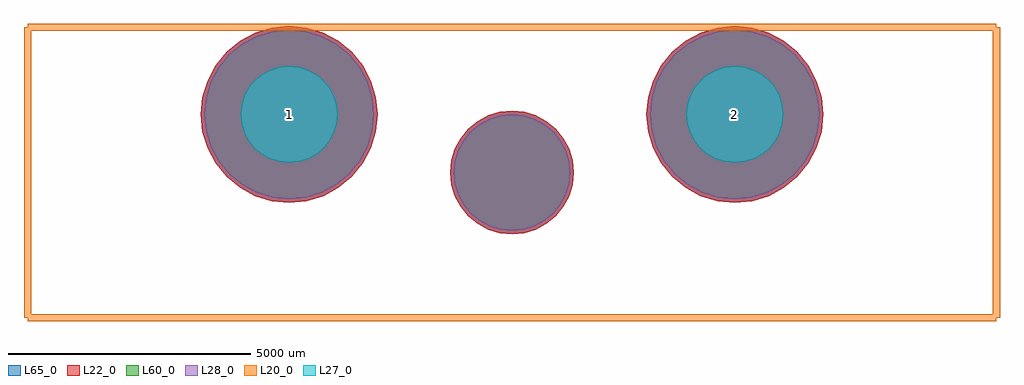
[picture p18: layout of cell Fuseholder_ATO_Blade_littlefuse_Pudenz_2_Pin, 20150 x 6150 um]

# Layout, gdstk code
import gdstk
lib = gdstk.Library(unit=1e-6, precision=1e-09)
def P(c, l, *ps):  # polygons
    for p in ps: c.add(gdstk.Polygon(p, *l))
L20_0 = (20, 0)
L22_0 = (22, 0)
L27_0 = (27, 0)
L28_0 = (28, 0)
L60_0 = (60, 0)
L65_0 = (65, 0)

fuseholder_ato_blade_lit = lib.new_cell('Fuseholder_ATO_Blade_littlefuse_Pudenz_2_Pin')
P(fuseholder_ato_blade_lit, L22_0, [(11025,0),(10989.933,356.04),(10886.08,698.397),(10717.432,1013.916),(10490.47,1290.47),(10213.916,1517.432),(9898.397,1686.08),(9556.04,1789.933),(9200,1825),(8843.96,1789.933),(8501.603,1686.08),(8186.084,1517.432),(7909.53,1290.47),(7682.568,1013.916),(7513.92,698.397),(7410.067,356.04),(7375,0),(7410.067,-356.04),(7513.92,-698.397),(7682.568,-1013.916),(7909.53,-1290.47),(8186.084,-1517.432),(8501.603,-1686.08),(8843.96,-1789.933),(9200,-1825),(9556.04,-1789.933),(9898.397,-1686.08),(10213.916,-1517.432),(10490.47,-1290.47),(10717.432,-1013.916),(10886.08,-698.397),(10989.933,-356.04)],
  [(5875,-1200),(5850.501,-951.26),(5777.946,-712.079),(5660.124,-491.648),(5501.561,-298.439),(5308.352,-139.876),(5087.921,-22.054),(4848.74,50.501),(4600,75),(4351.26,50.501),(4112.079,-22.054),(3891.648,-139.876),(3698.439,-298.439),(3539.876,-491.648),(3422.054,-712.079),(3349.499,-951.26),(3325,-1200),(3349.499,-1448.74),(3422.054,-1687.921),(3539.876,-1908.352),(3698.439,-2101.561),(3891.648,-2260.124),(4112.079,-2377.946),(4351.26,-2450.501),(4600,-2475),(4848.74,-2450.501),(5087.921,-2377.946),(5308.352,-2260.124),(5501.561,-2101.561),(5660.124,-1908.352),(5777.946,-1687.921),(5850.501,-1448.74)],
  [(1825,0),(1789.933,356.04),(1686.08,698.397),(1517.432,1013.916),(1290.47,1290.47),(1013.916,1517.432),(698.397,1686.08),(356.04,1789.933),(0,1825),(-356.04,1789.933),(-698.397,1686.08),(-1013.916,1517.432),(-1290.47,1290.47),(-1517.432,1013.916),(-1686.08,698.397),(-1789.933,356.04),(-1825,0),(-1789.933,-356.04),(-1686.08,-698.397),(-1517.432,-1013.916),(-1290.47,-1290.47),(-1013.916,-1517.432),(-698.397,-1686.08),(-356.04,-1789.933),(0,-1825),(356.04,-1789.933),(698.397,-1686.08),(1013.916,-1517.432),(1290.47,-1290.47),(1517.432,-1013.916),(1686.08,-698.397),(1789.933,-356.04)])
P(fuseholder_ato_blade_lit, L27_0, [(10199.999,0),(10180.784,195.09),(10123.879,382.683),(10031.469,555.57),(9907.106,707.106),(9755.57,831.469),(9582.683,923.879),(9395.09,980.784),(9200,999.999),(9004.91,980.784),(8817.317,923.879),(8644.43,831.469),(8492.894,707.106),(8368.531,555.57),(8276.121,382.683),(8219.216,195.09),(8200.001,0),(8219.216,-195.09),(8276.121,-382.683),(8368.531,-555.57),(8492.894,-707.106),(8644.43,-831.469),(8817.317,-923.879),(9004.91,-980.784),(9200,-999.999),(9395.09,-980.784),(9582.683,-923.879),(9755.57,-831.469),(9907.106,-707.106),(10031.469,-555.57),(10123.879,-382.683),(10180.784,-195.09)],
  [(999.999,0),(980.784,195.09),(923.879,382.683),(831.469,555.57),(707.106,707.106),(555.57,831.469),(382.683,923.879),(195.09,980.784),(0,999.999),(-195.09,980.784),(-382.683,923.879),(-555.57,831.469),(-707.106,707.106),(-831.469,555.57),(-923.879,382.683),(-980.784,195.09),(-999.999,0),(-980.784,-195.09),(-923.879,-382.683),(-831.469,-555.57),(-707.106,-707.106),(-555.57,-831.469),(-382.683,-923.879),(-195.09,-980.784),(0,-999.999),(195.09,-980.784),(382.683,-923.879),(555.57,-831.469),(707.106,-707.106),(831.469,-555.57),(923.879,-382.683),(980.784,-195.09)])
P(fuseholder_ato_blade_lit, L28_0, [(10950,0),(10916.374,341.408),(10816.789,669.696),(10655.072,972.248),(10437.437,1237.437),(10172.248,1455.072),(9869.696,1616.789),(9541.408,1716.374),(9200,1750),(8858.592,1716.374),(8530.304,1616.789),(8227.752,1455.072),(7962.563,1237.437),(7744.928,972.248),(7583.211,669.696),(7483.626,341.408),(7450,0),(7483.626,-341.408),(7583.211,-669.696),(7744.928,-972.248),(7962.563,-1237.437),(8227.752,-1455.072),(8530.304,-1616.789),(8858.592,-1716.374),(9200,-1750),(9541.408,-1716.374),(9869.696,-1616.789),(10172.248,-1455.072),(10437.437,-1237.437),(10655.072,-972.248),(10816.789,-669.696),(10916.374,-341.408)],
  [(5800,-1200),(5776.942,-965.892),(5708.655,-740.78),(5597.764,-533.316),(5448.528,-351.472),(5266.684,-202.236),(5059.22,-91.345),(4834.108,-23.058),(4600,0),(4365.892,-23.058),(4140.78,-91.345),(3933.316,-202.236),(3751.472,-351.472),(3602.236,-533.316),(3491.345,-740.78),(3423.058,-965.892),(3400,-1200),(3423.058,-1434.108),(3491.345,-1659.22),(3602.236,-1866.684),(3751.472,-2048.528),(3933.316,-2197.764),(4140.78,-2308.655),(4365.892,-2376.942),(4600,-2400),(4834.108,-2376.942),(5059.22,-2308.655),(5266.684,-2197.764),(5448.528,-2048.528),(5597.764,-1866.684),(5708.655,-1659.22),(5776.942,-1434.108)],
  [(1750,0),(1716.374,341.408),(1616.789,669.696),(1455.072,972.248),(1237.437,1237.437),(972.248,1455.072),(669.696,1616.789),(341.408,1716.374),(0,1750),(-341.408,1716.374),(-669.696,1616.789),(-972.248,1455.072),(-1237.437,1237.437),(-1455.072,972.248),(-1616.789,669.696),(-1716.374,341.408),(-1750,0),(-1716.374,-341.408),(-1616.789,-669.696),(-1455.072,-972.248),(-1237.437,-1237.437),(-972.248,-1455.072),(-669.696,-1616.789),(-341.408,-1716.374),(0,-1750),(341.408,-1716.374),(669.696,-1616.789),(972.248,-1455.072),(1237.437,-1237.437),(1455.072,-972.248),(1616.789,-669.696),(1716.374,-341.408)])
P(fuseholder_ato_blade_lit, L60_0, [(10950,0),(10916.374,341.408),(10816.789,669.696),(10655.072,972.248),(10437.437,1237.437),(10172.248,1455.072),(9869.696,1616.789),(9541.408,1716.374),(9200,1750),(8858.592,1716.374),(8530.304,1616.789),(8227.752,1455.072),(7962.563,1237.437),(7744.928,972.248),(7583.211,669.696),(7483.626,341.408),(7450,0),(7483.626,-341.408),(7583.211,-669.696),(7744.928,-972.248),(7962.563,-1237.437),(8227.752,-1455.072),(8530.304,-1616.789),(8858.592,-1716.374),(9200,-1750),(9541.408,-1716.374),(9869.696,-1616.789),(10172.248,-1455.072),(10437.437,-1237.437),(10655.072,-972.248),(10816.789,-669.696),(10916.374,-341.408)],
  [(5800,-1200),(5776.942,-965.892),(5708.655,-740.78),(5597.764,-533.316),(5448.528,-351.472),(5266.684,-202.236),(5059.22,-91.345),(4834.108,-23.058),(4600,0),(4365.892,-23.058),(4140.78,-91.345),(3933.316,-202.236),(3751.472,-351.472),(3602.236,-533.316),(3491.345,-740.78),(3423.058,-965.892),(3400,-1200),(3423.058,-1434.108),(3491.345,-1659.22),(3602.236,-1866.684),(3751.472,-2048.528),(3933.316,-2197.764),(4140.78,-2308.655),(4365.892,-2376.942),(4600,-2400),(4834.108,-2376.942),(5059.22,-2308.655),(5266.684,-2197.764),(5448.528,-2048.528),(5597.764,-1866.684),(5708.655,-1659.22),(5776.942,-1434.108)],
  [(1750,0),(1716.374,341.408),(1616.789,669.696),(1455.072,972.248),(1237.437,1237.437),(972.248,1455.072),(669.696,1616.789),(341.408,1716.374),(0,1750),(-341.408,1716.374),(-669.696,1616.789),(-972.248,1455.072),(-1237.437,1237.437),(-1455.072,972.248),(-1616.789,669.696),(-1716.374,341.408),(-1750,0),(-1716.374,-341.408),(-1616.789,-669.696),(-1455.072,-972.248),(-1237.437,-1237.437),(-972.248,-1455.072),(-669.696,-1616.789),(-341.408,-1716.374),(0,-1750),(341.408,-1716.374),(669.696,-1616.789),(972.248,-1455.072),(1237.437,-1237.437),(1455.072,-972.248),(1616.789,-669.696),(1716.374,-341.408)])
P(fuseholder_ato_blade_lit, L65_0, [(11025,0),(10989.933,356.04),(10886.08,698.397),(10717.432,1013.916),(10490.47,1290.47),(10213.916,1517.432),(9898.397,1686.08),(9556.04,1789.933),(9200,1825),(8843.96,1789.933),(8501.603,1686.08),(8186.084,1517.432),(7909.53,1290.47),(7682.568,1013.916),(7513.92,698.397),(7410.067,356.04),(7375,0),(7410.067,-356.04),(7513.92,-698.397),(7682.568,-1013.916),(7909.53,-1290.47),(8186.084,-1517.432),(8501.603,-1686.08),(8843.96,-1789.933),(9200,-1825),(9556.04,-1789.933),(9898.397,-1686.08),(10213.916,-1517.432),(10490.47,-1290.47),(10717.432,-1013.916),(10886.08,-698.397),(10989.933,-356.04)],
  [(5875,-1200),(5850.501,-951.26),(5777.946,-712.079),(5660.124,-491.648),(5501.561,-298.439),(5308.352,-139.876),(5087.921,-22.054),(4848.74,50.501),(4600,75),(4351.26,50.501),(4112.079,-22.054),(3891.648,-139.876),(3698.439,-298.439),(3539.876,-491.648),(3422.054,-712.079),(3349.499,-951.26),(3325,-1200),(3349.499,-1448.74),(3422.054,-1687.921),(3539.876,-1908.352),(3698.439,-2101.561),(3891.648,-2260.124),(4112.079,-2377.946),(4351.26,-2450.501),(4600,-2475),(4848.74,-2450.501),(5087.921,-2377.946),(5308.352,-2260.124),(5501.561,-2101.561),(5660.124,-1908.352),(5777.946,-1687.921),(5850.501,-1448.74)],
  [(1825,0),(1789.933,356.04),(1686.08,698.397),(1517.432,1013.916),(1290.47,1290.47),(1013.916,1517.432),(698.397,1686.08),(356.04,1789.933),(0,1825),(-356.04,1789.933),(-698.397,1686.08),(-1013.916,1517.432),(-1290.47,1290.47),(-1517.432,1013.916),(-1686.08,698.397),(-1789.933,356.04),(-1825,0),(-1789.933,-356.04),(-1686.08,-698.397),(-1517.432,-1013.916),(-1290.47,-1290.47),(-1013.916,-1517.432),(-698.397,-1686.08),(-356.04,-1789.933),(0,-1825),(356.04,-1789.933),(698.397,-1686.08),(1013.916,-1517.432),(1290.47,-1290.47),(1517.432,-1013.916),(1686.08,-698.397),(1789.933,-356.04)])
fuseholder_ato_blade_lit.add(gdstk.FlexPath([(-5400,-4200),(-5400,1800)], 149.998, ends="flush", simple_path=True, layer=20, datatype=0))  # L20_0
fuseholder_ato_blade_lit.add(gdstk.FlexPath([(14600,-4200),(-5400,-4200)], 149.998, ends="flush", simple_path=True, layer=20, datatype=0))  # L20_0
fuseholder_ato_blade_lit.add(gdstk.FlexPath([(14600,1800),(14600,-4200)], 149.998, ends="flush", simple_path=True, layer=20, datatype=0))  # L20_0
fuseholder_ato_blade_lit.add(gdstk.FlexPath([(-5400,1800),(14600,1800)], 149.998, ends="flush", simple_path=True, layer=20, datatype=0))  # L20_0
fuseholder_ato_blade_lit.add(gdstk.Label('2', (9200,0), layer=28, texttype=0))
fuseholder_ato_blade_lit.add(gdstk.Label('1', (0,0), layer=28, texttype=0))
fuseholder_ato_blade_lit.add(gdstk.Label('type', (5072,-5216), layer=9, texttype=0))
fuseholder_ato_blade_lit.add(gdstk.Label('devicename', (4572,2784), layer=9, texttype=0))

lib.write_gds('Fuseholder_ATO_Blade_littlefuse_Pudenz_2_Pin.gds')
